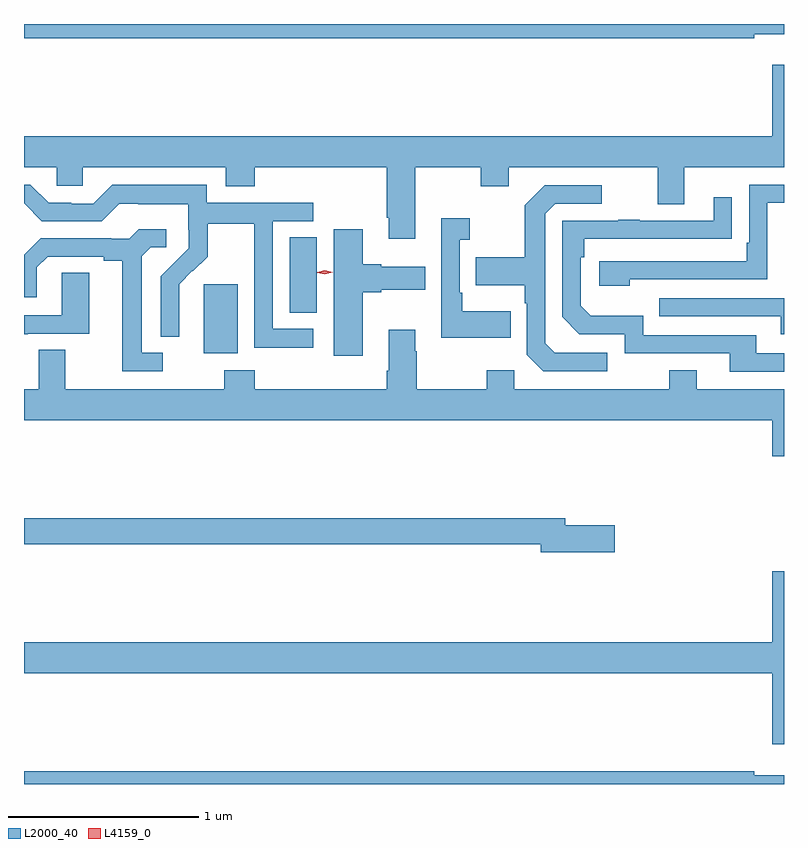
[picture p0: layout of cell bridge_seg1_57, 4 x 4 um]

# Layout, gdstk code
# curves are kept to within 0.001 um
import gdstk
lib = gdstk.Library(unit=1e-6, precision=1e-09)
def R(c, l, rs):  # rectangles x0, y0, x1, y1
    for r in rs: c.add(gdstk.rectangle(r[:2], r[2:], *l))
def P(c, l, *ps):  # polygons
    for p in ps: c.add(gdstk.Polygon(p, *l))
L2000_40 = (2000, 40)
L4159_0 = (4159, 0)

bridge_seg1_57 = lib.new_cell('bridge_seg1_57')
R(bridge_seg1_57, L2000_40, [(497.678,505.466,497.857,505.827), (498.131,505.678,498.274,506.075)])
P(bridge_seg1_57, L2000_40, [(500.576,507.143),(500.733,507.143),(500.733,507.198),(496.733,507.198),(496.733,507.124),(500.576,507.124)],
  [(498.793,506.444),(499.138,506.444),(499.138,506.345),(499.285,506.345),(499.285,506.444),(500.069,506.444),(500.069,506.25),(500.209,506.25),(500.209,506.444),(500.733,506.444),(500.733,506.983),(500.672,506.983),(500.672,506.608),(496.733,506.608),(496.733,506.444),(496.905,506.444),(496.905,506.346),(497.043,506.346),(497.043,506.444),(497.795,506.444),(497.795,506.345),(497.948,506.345),(497.948,506.444),(498.641,506.444),(498.641,506.179),(498.653,506.179),(498.653,506.067),(498.793,506.067)],
  [(498.256,505.593),(498.042,505.593),(498.042,506.16),(498.256,506.16),(498.256,506.256),(497.694,506.256),(497.694,506.353),(497.197,506.353),(497.097,506.253),(496.982,506.253),(496.982,506.256),(496.863,506.256),(496.767,506.352),(496.733,506.352),(496.733,506.254),(496.827,506.16),(497.142,506.16),(497.235,506.253),(497.335,506.253),(497.335,506.249),(497.598,506.249),(497.598,506.115),(497.6,506.115),(497.6,506.018),(497.454,505.87),(497.454,505.552),(497.55,505.552),(497.549,505.829),(497.619,505.899),(497.622,505.896),(497.699,505.973),(497.699,506.148),(497.944,506.148),(497.944,505.924),(497.946,505.924),(497.946,505.495),(498.256,505.495)],
  [(499.922,505.854),(500.646,505.854),(500.646,506.256),(500.733,506.256),(500.733,506.352),(500.55,506.352),(500.55,506.047),(500.537,506.047),(500.537,505.95),(499.761,505.95),(499.761,505.82),(499.922,505.82)],
  [(499.804,505.467),(499.527,505.467),(499.476,505.518),(499.476,506.199),(499.53,506.253),(499.774,506.253),(499.774,506.349),(499.473,506.349),(499.368,506.243),(499.368,505.971),(499.111,505.971),(499.111,505.823),(499.368,505.823),(499.368,505.727),(499.38,505.727),(499.38,505.458),(499.467,505.371),(499.804,505.371)],
  [(500.733,505.464),(500.587,505.464),(500.587,505.56),(499.992,505.56),(499.992,505.663),(499.715,505.663),(499.662,505.716),(499.662,505.97),(499.682,505.97),(499.682,506.067),(500.459,506.068),(500.459,506.287),(500.363,506.287),(500.363,506.163),(499.973,506.163),(499.973,506.168),(499.861,506.168),(499.861,506.163),(499.566,506.163),(499.566,505.656),(499.656,505.566),(499.896,505.566),(499.896,505.464),(500.447,505.464),(500.447,505.368),(500.733,505.368)],
  [(499.295,505.687),(499.039,505.687),(499.039,505.783),(499.026,505.783),(499.026,506.063),(499.078,506.063),(499.078,506.176),(498.93,506.176),(498.93,505.547),(499.295,505.547)],
  [(498.517,505.787),(498.613,505.787),(498.613,505.799),(498.844,505.799),(498.844,505.921),(498.613,505.921),(498.613,505.934),(498.517,505.934),(498.517,506.119),(498.362,506.119),(498.362,505.452),(498.517,505.452)],
  [(497.464,505.467),(497.353,505.467),(497.353,505.975),(497.4,506.022),(497.482,506.022),(497.482,506.119),(497.338,506.119),(497.286,506.067),(497.192,506.067),(497.192,506.07),(496.82,506.07),(496.733,505.983),(496.733,505.761),(496.801,505.761),(496.801,505.917),(496.858,505.974),(497.153,505.974),(497.153,505.952),(497.249,505.952),(497.249,505.371),(497.464,505.371)],
  [(496.753,505.569),(497.077,505.569),(497.077,505.889),(496.932,505.889),(496.932,505.665),(496.733,505.665),(496.733,505.565),(496.753,505.565)],
  [(500.733,505.755),(500.077,505.755),(500.077,505.659),(500.717,505.659),(500.717,505.565),(500.733,505.565)],
  [(500.733,505.276),(500.275,505.276),(500.275,505.375),(500.128,505.375),(500.128,505.276),(499.314,505.276),(499.314,505.375),(499.168,505.375),(499.168,505.276),(498.801,505.276),(498.801,505.475),(498.793,505.475),(498.793,505.588),(498.653,505.588),(498.653,505.372),(498.641,505.372),(498.641,505.276),(497.948,505.276),(497.948,505.375),(497.788,505.375),(497.788,505.276),(496.951,505.276),(496.951,505.484),(496.811,505.484),(496.811,505.276),(496.733,505.276),(496.733,505.112),(500.672,505.112),(500.672,504.924),(500.733,504.924)],
  [(499.843,504.56),(499.582,504.56),(499.582,504.596),(496.733,504.596),(496.733,504.46),(499.454,504.46),(499.454,504.418),(499.843,504.418)],
  [(500.733,504.319),(500.672,504.319),(500.672,503.944),(496.733,503.944),(496.733,503.78),(500.672,503.78),(500.672,503.406),(500.733,503.406)],
  [(500.733,503.245),(500.576,503.245),(500.576,503.264),(496.733,503.264),(496.733,503.198),(500.733,503.198)])
P(bridge_seg1_57, L4159_0, [(498.317,505.881),(498.277,505.89),(498.277,505.89),(498.277,505.891),(498.317,505.901),(498.357,505.892),(498.357,505.892),(498.357,505.892)])

lib.write_gds('bridge_seg1_57.gds')
